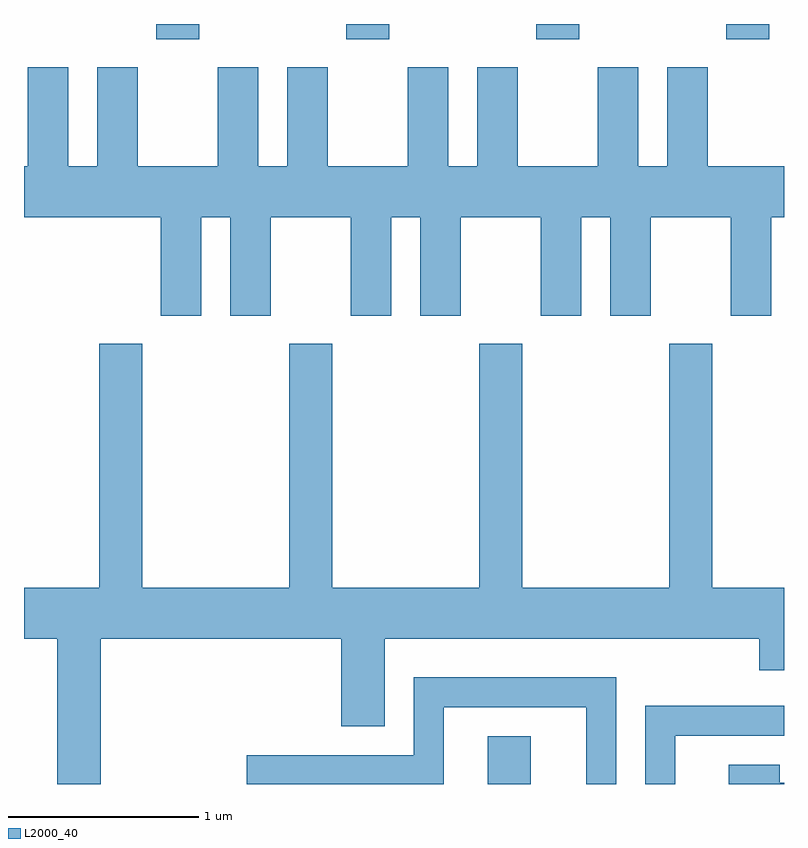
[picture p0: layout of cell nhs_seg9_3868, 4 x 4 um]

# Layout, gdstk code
import gdstk
lib = gdstk.Library(unit=1e-6, precision=1e-09)
def R(c, l, rs):  # rectangles x0, y0, x1, y1
    for r in rs: c.add(gdstk.rectangle(r[:2], r[2:], *l))
def A(c, l, x, y, w, h, nx, ny, dx, dy):  # array of equal rectangles
    R(c, l, [(x+i*dx, y+j*dy, x+i*dx+w, y+j*dy+h) for i in range(nx) for j in range(ny)])
def P(c, l, *ps):  # polygons
    for p in ps: c.add(gdstk.Polygon(p, *l))
L2000_40 = (2000, 40)

nhs_seg9_3868 = lib.new_cell('nhs_seg9_3868')
A(nhs_seg9_3868, L2000_40, 300.306, 1948.351, 0.228, 0.081, 4, 1, 1, 0)
R(nhs_seg9_3868, L2000_40, [(302.051,1944.432,302.279,1944.684)])
P(nhs_seg9_3868, L2000_40, [(300.331,1946.896),(300.544,1946.896),(300.544,1947.416),(300.696,1947.416),(300.696,1946.896),(300.909,1946.896),(300.909,1947.416),(301.331,1947.416),(301.331,1946.896),(301.544,1946.896),(301.544,1947.416),(301.696,1947.416),(301.696,1946.896),(301.909,1946.896),(301.909,1947.416),(302.331,1947.416),(302.331,1946.896),(302.544,1946.896),(302.544,1947.416),(302.696,1947.416),(302.696,1946.896),(302.909,1946.896),(302.909,1947.416),(303.331,1947.416),(303.331,1946.896),(303.544,1946.896),(303.544,1947.416),(303.611,1947.416),(303.611,1947.684),(303.209,1947.684),(303.209,1948.204),(302.996,1948.204),(302.996,1947.684),(302.844,1947.684),(302.844,1948.204),(302.631,1948.204),(302.631,1947.684),(302.209,1947.684),(302.209,1948.204),(301.996,1948.204),(301.996,1947.684),(301.844,1947.684),(301.844,1948.204),(301.631,1948.204),(301.631,1947.684),(301.209,1947.684),(301.209,1948.204),(300.996,1948.204),(300.996,1947.684),(300.844,1947.684),(300.844,1948.204),(300.631,1948.204),(300.631,1947.684),(300.209,1947.684),(300.209,1948.204),(299.996,1948.204),(299.996,1947.684),(299.844,1947.684),(299.844,1948.204),(299.631,1948.204),(299.631,1947.684),(299.611,1947.684),(299.611,1947.416),(300.331,1947.416)],
  [(301.281,1944.736),(301.509,1944.736),(301.509,1945.196),(303.481,1945.196),(303.481,1945.031),(303.611,1945.031),(303.611,1945.464),(303.234,1945.464),(303.234,1946.749),(303.006,1946.749),(303.006,1945.464),(302.234,1945.464),(302.234,1946.749),(302.006,1946.749),(302.006,1945.464),(301.234,1945.464),(301.234,1946.749),(301.006,1946.749),(301.006,1945.464),(300.234,1945.464),(300.234,1946.749),(300.006,1946.749),(300.006,1945.464),(299.611,1945.464),(299.611,1945.196),(299.786,1945.196),(299.786,1944.432),(300.014,1944.432),(300.014,1945.196),(301.281,1945.196)],
  [(301.819,1944.836),(302.571,1944.836),(302.571,1944.432),(302.729,1944.432),(302.729,1944.994),(301.661,1944.994),(301.661,1944.584),(300.783,1944.584),(300.783,1944.432),(301.819,1944.432)],
  [(303.039,1944.686),(303.611,1944.686),(303.611,1944.844),(302.881,1944.844),(302.881,1944.432),(303.039,1944.432)],
  [(303.611,1944.439),(303.589,1944.439),(303.589,1944.534),(303.321,1944.534),(303.321,1944.432),(303.611,1944.432)])

lib.write_gds('nhs_seg9_3868.gds')
